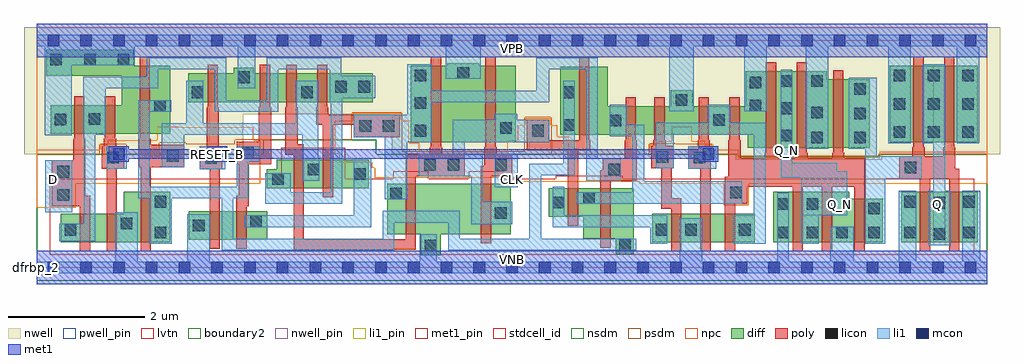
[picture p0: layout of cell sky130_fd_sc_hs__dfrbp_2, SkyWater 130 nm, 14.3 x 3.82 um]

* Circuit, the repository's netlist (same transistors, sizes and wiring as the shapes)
* Copyright 2020 The SkyWater PDK Authors
*
* Licensed under the Apache License, Version 2.0 (the "License");
* you may not use this file except in compliance with the License.
* You may obtain a copy of the License at
*
*     https://www.apache.org/licenses/LICENSE-2.0
*
* Unless required by applicable law or agreed to in writing, software
* distributed under the License is distributed on an "AS IS" BASIS,
* WITHOUT WARRANTIES OR CONDITIONS OF ANY KIND, either express or implied.
* See the License for the specific language governing permissions and
* limitations under the License.
*
* SPDX-License-Identifier: Apache-2.0


.subckt sky130_fd_sc_hs__dfrbp_2 CLK D RESET_B VGND VNB VPB VPWR Q Q_N
X0 a_1800_291# a_1586_149# VPWR VPB sky130_fd_pr__pfet_01v8 w=420000u l=150000u
X1 VGND CLK a_728_331# VNB sky130_fd_pr__nfet_01v8_lvt w=740000u l=150000u
X2 Q a_2363_352# VGND VNB sky130_fd_pr__nfet_01v8_lvt w=740000u l=150000u
X3 VPWR CLK a_728_331# VPB sky130_fd_pr__pfet_01v8 w=1.12 l=150000u
X4 a_1499_149# a_728_331# a_1586_149# VNB sky130_fd_pr__nfet_01v8_lvt w=420000u l=150000u
X5 a_536_81# a_331_392# a_614_81# VNB sky130_fd_pr__nfet_01v8_lvt w=420000u l=150000u
X6 a_156_74# RESET_B VGND VNB sky130_fd_pr__nfet_01v8_lvt w=420000u l=150000u
X7 a_298_294# a_818_418# a_614_81# VNB sky130_fd_pr__nfet_01v8_lvt w=420000u l=150000u
X8 a_70_74# a_728_331# a_298_294# VNB sky130_fd_pr__nfet_01v8_lvt w=420000u l=150000u
X9 a_331_392# a_728_331# a_1586_149# VPB sky130_fd_pr__pfet_01v8 w=1 l=150000u
X10 a_70_74# D a_156_74# VNB sky130_fd_pr__nfet_01v8_lvt w=420000u l=150000u
X11 a_818_418# a_728_331# VGND VNB sky130_fd_pr__nfet_01v8_lvt w=740000u l=150000u
X12 a_818_418# a_728_331# VPWR VPB sky130_fd_pr__pfet_01v8 w=1.12 l=150000u
X13 a_1586_149# a_818_418# a_1755_389# VPB sky130_fd_pr__pfet_01v8 w=420000u l=150000u
X14 Q_N a_1586_149# VPWR VPB sky130_fd_pr__pfet_01v8 w=1.12 l=150000u
X15 a_298_294# a_818_418# a_70_74# VPB sky130_fd_pr__pfet_01v8 w=420000u l=150000u
X16 VGND RESET_B a_536_81# VNB sky130_fd_pr__nfet_01v8_lvt w=420000u l=150000u
X17 a_1755_389# a_1800_291# VPWR VPB sky130_fd_pr__pfet_01v8 w=420000u l=150000u
X18 a_1586_149# a_818_418# a_331_392# VNB sky130_fd_pr__nfet_01v8_lvt w=740000u l=150000u
X19 Q a_2363_352# VPWR VPB sky130_fd_pr__pfet_01v8 w=1.12 l=150000u
X20 VGND a_1586_149# Q_N VNB sky130_fd_pr__nfet_01v8_lvt w=740000u l=150000u
X21 VGND a_1586_149# a_2363_352# VNB sky130_fd_pr__nfet_01v8_lvt w=640000u l=150000u
X22 VPWR a_298_294# a_331_392# VPB sky130_fd_pr__pfet_01v8 w=1 l=150000u
X23 a_298_294# RESET_B VPWR VPB sky130_fd_pr__pfet_01v8 w=420000u l=150000u
X24 a_1499_149# a_1800_291# VGND VNB sky130_fd_pr__nfet_01v8_lvt w=420000u l=150000u
X25 VPWR a_331_392# a_683_485# VPB sky130_fd_pr__pfet_01v8 w=420000u l=150000u
X26 VPWR D a_70_74# VPB sky130_fd_pr__pfet_01v8 w=420000u l=150000u
X27 VPWR RESET_B a_1800_291# VPB sky130_fd_pr__pfet_01v8 w=420000u l=150000u
X28 a_1974_74# a_1586_149# a_1800_291# VNB sky130_fd_pr__nfet_01v8_lvt w=420000u l=150000u
X29 a_70_74# RESET_B VPWR VPB sky130_fd_pr__pfet_01v8 w=420000u l=150000u
X30 Q_N a_1586_149# VGND VNB sky130_fd_pr__nfet_01v8_lvt w=740000u l=150000u
X31 VPWR a_1586_149# a_2363_352# VPB sky130_fd_pr__pfet_01v8 w=1 l=150000u
X32 VGND a_2363_352# Q VNB sky130_fd_pr__nfet_01v8_lvt w=740000u l=150000u
X33 VPWR a_1586_149# Q_N VPB sky130_fd_pr__pfet_01v8 w=1.12 l=150000u
X34 VGND RESET_B a_1974_74# VNB sky130_fd_pr__nfet_01v8_lvt w=420000u l=150000u
X35 a_683_485# a_728_331# a_298_294# VPB sky130_fd_pr__pfet_01v8 w=420000u l=150000u
X36 VGND a_298_294# a_331_392# VNB sky130_fd_pr__nfet_01v8_lvt w=740000u l=150000u
X37 VPWR a_2363_352# Q VPB sky130_fd_pr__pfet_01v8 w=1.12 l=150000u
.ends

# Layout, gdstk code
import gdstk
lib = gdstk.Library(unit=1e-6, precision=1e-09)
def R(c, l, rs):  # rectangles x0, y0, x1, y1
    for r in rs: c.add(gdstk.rectangle(r[:2], r[2:], *l))
def A(c, l, x, y, w, h, nx, ny, dx, dy):  # array of equal rectangles
    R(c, l, [(x+i*dx, y+j*dy, x+i*dx+w, y+j*dy+h) for i in range(nx) for j in range(ny)])
def P(c, l, *ps):  # polygons
    for p in ps: c.add(gdstk.Polygon(p, *l))
nwell_pin = (64, 16)
nwell = (64, 20)
diff = (65, 20)
poly = (66, 20)
licon = (66, 44)
li1_pin = (67, 16)
li1 = (67, 20)
mcon = (67, 44)
met1_pin = (68, 16)
met1 = (68, 20)
stdcell_id = (81, 4)
nsdm = (93, 44)
psdm = (94, 20)
npc = (95, 20)
pwell_pin = (122, 16)
lvtn = (125, 44)
boundary2 = (236, 0)

sky130_fd_sc_hs__dfrbp_2 = lib.new_cell('sky130_fd_sc_hs__dfrbp_2')
R(sky130_fd_sc_hs__dfrbp_2, nwell_pin, [(0,3.085,13.92,3.33)])
P(sky130_fd_sc_hs__dfrbp_2, nwell, [(10.235,1.58),(10.235,1.66),(5.2,1.66),(5.2,2.245),(3.025,2.245),(3.025,1.66),(-0.19,1.66),(-0.19,3.52),(14.11,3.52),(14.11,1.66),(12.385,1.66),(12.385,1.58)])
R(sky130_fd_sc_hs__dfrbp_2, diff, [(9.015,0.37,10.515,0.79), (12.665,0.37,13.785,1.11), (2.225,0.405,3.375,0.825), (12.495,1.84,13.785,2.96)])
P(sky130_fd_sc_hs__dfrbp_2, diff, [(0.2,1.96),(0.2,2.38),(1.24,2.38),(1.24,2.81),(0.135,2.81),(0.135,3.195),(1.415,3.195),(1.415,2.96),(1.95,2.96),(1.95,1.96)],
  [(10.785,0.37),(10.785,1.11),(11.9,1.11),(11.9,1.01),(12.395,1.01),(12.395,0.37)],
  [(0.35,0.37),(0.35,0.79),(1.27,0.79),(1.27,1.11),(1.955,1.11),(1.955,0.37)],
  [(3.365,1.16),(3.365,1.44),(3.51,1.44),(3.51,1.58),(4.86,1.58),(4.86,1.16)],
  [(2.22,2.425),(2.22,2.845),(2.885,2.845),(2.885,2.93),(3.175,2.93),(3.175,2.845),(4.92,2.845),(4.92,2.425)],
  [(5.625,0.18),(5.625,0.49),(5.13,0.49),(5.13,1.23),(6.94,1.23),(6.94,0.49),(5.915,0.49),(5.915,0.18)],
  [(5.475,1.84),(5.475,2.96),(6.01,2.96),(6.01,2.995),(6.48,2.995),(6.48,2.96),(7.015,2.96),(7.015,1.84)],
  [(8.48,0.195),(8.48,0.425),(8.005,0.425),(8.005,0.745),(7.495,0.745),(7.495,1.165),(8.745,1.165),(8.745,0.195)],
  [(10.415,1.76),(10.415,1.945),(7.665,1.945),(7.665,2.945),(8.36,2.945),(8.36,2.365),(9.285,2.365),(9.285,2.6),(9.605,2.6),(9.605,2.365),(10.385,2.365),(10.385,2.88),(11.575,2.88),(11.575,2.76),(12.205,2.76),(12.205,1.76)])
P(sky130_fd_sc_hs__dfrbp_2, poly, [(1.02,0.24),(1.02,1.45),(0.95,1.45),(0.95,1.78),(0.98,1.78),(0.98,1.885),(0.995,1.885),(0.995,2.51),(1.145,2.51),(1.145,1.885),(1.16,1.885),(1.16,1.78),(1.28,1.78),(1.28,1.45),(1.17,1.45),(1.17,0.24)],
  [(1.52,0.24),(1.52,1.47),(1.49,1.47),(1.49,1.885),(1.505,1.885),(1.505,3.09),(1.655,3.09),(1.655,1.885),(1.67,1.885),(1.67,1.8),(2.155,1.8),(2.155,1.47),(1.67,1.47),(1.67,0.24)],
  [(2.53,0.275),(2.53,1.445),(2.385,1.445),(2.385,1.775),(2.485,1.775),(2.485,2.35),(2.5,2.35),(2.5,2.975),(2.65,2.975),(2.65,2.35),(2.665,2.35),(2.665,1.775),(2.715,1.775),(2.715,1.445),(2.68,1.445),(2.68,0.275)],
  [(2.92,0.275),(2.92,1.05),(2.955,1.05),(2.955,1.515),(2.925,1.515),(2.925,1.845),(3.25,1.845),(3.25,2.35),(3.265,2.35),(3.265,2.975),(3.415,2.975),(3.415,2.35),(3.43,2.35),(3.43,1.515),(3.105,1.515),(3.105,0.9),(3.07,0.9),(3.07,0.275)],
  [(4.19,1.03),(4.19,2.09),(4.09,2.09),(4.09,2.35),(4.105,2.35),(4.105,2.975),(4.255,2.975),(4.255,2.35),(4.27,2.35),(4.27,2.24),(5.315,2.24),(5.315,1.91),(4.645,1.91),(4.645,2.09),(4.34,2.09),(4.34,1.03)],
  [(3.76,0.265),(3.76,1.655),(3.64,1.655),(3.64,2.35),(3.655,2.35),(3.655,2.975),(3.805,2.975),(3.805,2.35),(3.82,2.35),(3.82,1.805),(3.91,1.805),(3.91,0.415),(5.4,0.415),(5.4,1.67),(5.755,1.67),(5.755,1.765),(5.77,1.765),(5.77,3.09),(5.92,3.09),(5.92,1.765),(5.935,1.765),(5.935,1.67),(6.265,1.67),(6.265,1.34),(5.55,1.34),(5.55,0.265)],
  [(6.505,0.36),(6.505,1.49),(6.555,1.49),(6.555,1.765),(6.57,1.765),(6.57,3.09),(6.72,3.09),(6.72,1.765),(6.735,1.765),(6.735,1.67),(6.965,1.67),(6.965,1.34),(6.655,1.34),(6.655,0.36)],
  [(7.78,0.615),(7.78,1.72),(7.175,1.72),(7.175,2.17),(7.505,2.17),(7.505,1.87),(7.945,1.87),(7.945,3.075),(8.095,3.075),(8.095,1.87),(8.11,1.87),(8.11,1.72),(7.93,1.72),(7.93,0.615)],
  [(8.255,0.295),(8.255,1.425),(8.29,1.425),(8.29,1.605),(8.61,1.605),(8.61,1.87),(8.625,1.87),(8.625,2.495),(8.775,2.495),(8.775,1.87),(8.79,1.87),(8.79,1.275),(8.405,1.275),(8.405,0.295)],
  [(9.29,0.24),(9.29,0.865),(9.15,0.865),(9.15,1.455),(9,1.455),(9,1.785),(9.03,1.785),(9.03,1.87),(9.045,1.87),(9.045,2.495),(9.195,2.495),(9.195,1.87),(9.21,1.87),(9.21,1.785),(9.33,1.785),(9.33,1.455),(9.3,1.455),(9.3,1.015),(9.44,1.015),(9.44,0.24)],
  [(9.72,0.24),(9.72,1.45),(9.54,1.45),(9.54,1.78),(9.68,1.78),(9.68,1.87),(9.695,1.87),(9.695,2.495),(9.845,2.495),(9.845,1.87),(9.86,1.87),(9.86,1.78),(9.87,1.78),(9.87,0.24)],
  [(10.08,0.24),(10.08,1.335),(10.13,1.335),(10.13,1.87),(10.145,1.87),(10.145,2.495),(10.295,2.495),(10.295,1.87),(10.31,1.87),(10.31,1.6),(10.665,1.6),(10.665,1.685),(10.68,1.685),(10.68,3.01),(10.83,3.01),(10.83,1.685),(10.845,1.685),(10.845,1.6),(11.115,1.6),(11.115,1.685),(11.13,1.685),(11.13,3.01),(11.28,3.01),(11.28,1.685),(11.295,1.685),(11.295,1.6),(11.65,1.6),(11.65,1.685),(11.665,1.685),(11.665,2.89),(11.815,2.89),(11.815,1.685),(11.83,1.685),(11.83,1.6),(12.125,1.6),(12.125,0.24),(11.975,0.24),(11.975,1.185),(11.65,1.185),(11.65,0.24),(11.5,0.24),(11.5,1.185),(11.22,1.185),(11.22,0.24),(11.07,0.24),(11.07,1.185),(10.41,1.185),(10.41,0.935),(10.23,0.935),(10.23,0.24)],
  [(12.935,0.24),(12.935,1.3),(12.635,1.3),(12.635,1.63),(12.825,1.63),(12.825,1.765),(12.84,1.765),(12.84,3.09),(12.99,3.09),(12.99,1.765),(13.005,1.765),(13.005,1.63),(13.275,1.63),(13.275,1.765),(13.29,1.765),(13.29,3.09),(13.44,3.09),(13.44,1.765),(13.455,1.765),(13.455,1.45),(13.515,1.45),(13.515,0.24),(13.365,0.24),(13.365,1.3),(13.085,1.3),(13.085,0.24)],
  [(0.63,0.24),(0.63,0.9),(0.22,0.9),(0.22,1.57),(0.53,1.57),(0.53,1.885),(0.545,1.885),(0.545,2.51),(0.695,2.51),(0.695,1.885),(0.71,1.885),(0.71,1.05),(0.78,1.05),(0.78,0.24)])
A(sky130_fd_sc_hs__dfrbp_2, licon, 11.975, 1.82, 0.17, 0.17, 1, 3, 0, 0.355)
A(sky130_fd_sc_hs__dfrbp_2, licon, 10.895, 1.85, 0.17, 0.17, 1, 3, 0, 0.4)
A(sky130_fd_sc_hs__dfrbp_2, licon, 12.555, 1.9, 0.17, 0.17, 3, 3, 0.5, 0.415)
A(sky130_fd_sc_hs__dfrbp_2, licon, 5.535, 1.92, 0.17, 0.17, 1, 3, 0, 0.405)
A(sky130_fd_sc_hs__dfrbp_2, licon, 0.195, 2.965, 0.17, 0.17, 3, 1, 0.495, 0)
R(sky130_fd_sc_hs__dfrbp_2, licon, [(5.685,0.24,5.855,0.41), (8.53,0.255,8.7,0.425), (13.14,0.41,13.31,0.58), (1.725,0.43,1.895,0.6), (10.845,0.43,11.015,0.6), (11.275,0.43,11.445,0.6), (11.71,0.43,11.88,0.6), (12.18,0.43,12.35,0.6), (12.71,0.43,12.88,0.6), (13.57,0.43,13.74,0.6), (0.405,0.47,0.575,0.64), (9.065,0.47,9.235,0.64), (9.495,0.47,9.665,0.64), (10.285,0.47,10.455,0.64), (2.285,0.53,2.455,0.7), (1.225,0.56,1.395,0.73), (3.125,0.595,3.295,0.765), (6.71,0.715,6.88,0.885), (12.18,0.78,12.35,0.95), (10.845,0.85,11.015,1.02), (11.275,0.85,11.445,1.02), (13.14,0.865,13.31,1.035), (7.555,0.87,7.725,1.04), (1.725,0.88,1.895,1.05), (12.71,0.88,12.88,1.05), (13.57,0.88,13.74,1.05), (8.005,0.935,8.175,1.105), (0.3,0.98,0.47,1.15), (5.175,1,5.345,1.17), (10.16,1.015,10.33,1.185), (3.445,1.215,3.615,1.385), (4.645,1.285,4.815,1.455), (0.3,1.32,0.47,1.49), (3.965,1.355,4.135,1.525), (8.37,1.355,8.54,1.525), (12.715,1.38,12.885,1.55), (5.675,1.42,5.845,1.59), (6.015,1.42,6.185,1.59), (6.715,1.42,6.885,1.59), (2.465,1.525,2.635,1.695), (1.03,1.53,1.2,1.7), (9.62,1.53,9.79,1.7), (9.08,1.535,9.25,1.705), (1.905,1.55,2.075,1.72), (3.005,1.595,3.175,1.765), (11.345,1.82,11.515,1.99), (7.255,1.92,7.425,2.09), (6.785,1.96,6.955,2.13), (4.725,1.99,4.895,2.16), (5.065,1.99,5.235,2.16), (7.71,2.005,7.88,2.175), (8.39,2.07,8.56,2.24), (9.91,2.08,10.08,2.25), (0.26,2.085,0.43,2.255), (0.76,2.09,0.93,2.26), (11.345,2.19,11.515,2.36), (1.72,2.285,1.89,2.455), (10.445,2.29,10.615,2.46), (9.36,2.37,9.53,2.54), (2.265,2.485,2.435,2.655), (3.87,2.485,4.04,2.655), (7.71,2.485,7.88,2.655), (4.37,2.565,4.54,2.735), (4.71,2.565,4.88,2.735), (10.445,2.63,10.615,2.8), (11.345,2.65,11.515,2.82), (2.945,2.705,3.115,2.875), (6.16,2.765,6.33,2.935)])
R(sky130_fd_sc_hs__dfrbp_2, li1_pin, [(13.135,0.33,13.305,2.98), (11.195,0.77,11.875,1.32), (0.125,0.81,0.515,1.57), (6.705,1.18,7.045,1.67), (10.895,1.32,11.065,2.9)])
R(sky130_fd_sc_hs__dfrbp_2, li1, [(0.125,0.81,0.515,1.57), (6.705,1.18,7.045,1.67), (2.385,1.445,2.755,1.775), (1.025,1.45,1.315,1.78), (9.54,1.45,9.955,1.78)])
P(sky130_fd_sc_hs__dfrbp_2, li1, [(2.705,0.255),(2.705,1.015),(1.975,1.015),(1.975,0.35),(1.645,0.35),(1.645,1.015),(1.485,1.015),(1.485,2.455),(1.97,2.455),(1.97,2.285),(1.655,2.285),(1.655,1.185),(2.925,1.185),(2.925,1.775),(3.255,1.775),(3.255,1.555),(3.095,1.555),(3.095,1.015),(2.875,1.015),(2.875,0.425),(5.065,0.425),(5.065,0.83),(6.195,0.83),(6.195,0.425),(7.215,0.425),(7.215,1.525),(7.71,1.525),(7.71,2.735),(7.88,2.735),(7.88,1.355),(7.385,1.355),(7.385,0.425),(8.78,0.425),(8.78,0.255),(6.025,0.255),(6.025,0.66),(5.235,0.66),(5.235,0.255)],
  [(7.905,0.935),(7.905,1.105),(8.725,1.105),(8.725,1.925),(8.39,1.925),(8.39,2.385),(8.64,2.385),(8.64,2.095),(8.895,2.095),(8.895,1.265),(10.335,1.265),(10.335,0.935)],
  [(5.095,1),(5.095,1.91),(4.645,1.91),(4.645,2.24),(5.425,2.24),(5.425,2.98),(5.785,2.98),(5.785,2.595),(7.315,2.595),(7.315,3.075),(8.22,3.075),(8.22,1.605),(8.555,1.605),(8.555,1.275),(8.05,1.275),(8.05,2.905),(7.505,2.905),(7.505,2.425),(5.785,2.425),(5.785,1.84),(5.425,1.84),(5.425,1)],
  [(13.06,0.33),(13.06,1.13),(13.135,1.13),(13.135,1.82),(12.975,1.82),(12.975,2.98),(13.305,2.98),(13.305,1.13),(13.39,1.13),(13.39,0.33)],
  [(3.885,1.275),(3.885,1.945),(2.155,1.945),(2.155,1.47),(1.825,1.47),(1.825,2.115),(2.185,2.115),(2.185,2.735),(2.435,2.735),(2.435,2.115),(3.79,2.115),(3.79,2.735),(4.12,2.735),(4.12,1.61),(4.135,1.61),(4.135,1.275)],
  [(3.045,0.595),(3.045,0.765),(4.645,0.765),(4.645,1.6),(4.895,1.6),(4.895,0.595)],
  [(12.135,0.35),(12.135,1.74),(11.895,1.74),(11.895,2.78),(12.305,2.78),(12.305,1.63),(12.965,1.63),(12.965,1.3),(12.43,1.3),(12.43,0.35)],
  [(8.985,0.35),(8.985,0.595),(7.555,0.595),(7.555,1.185),(7.725,1.185),(7.725,0.765),(9.235,0.765),(9.235,0.35)],
  [(11.195,0.35),(11.195,1.32),(10.895,1.32),(10.895,2.9),(11.065,2.9),(11.065,1.54),(11.725,1.54),(11.725,1.41),(11.875,1.41),(11.875,0.77),(11.455,0.77),(11.455,0.35)],
  [(0.325,0.39),(0.325,0.64),(0.685,0.64),(0.685,1.95),(0.68,1.95),(0.68,2.795),(1.605,2.795),(1.605,3.075),(2.775,3.075),(2.775,2.455),(3.365,2.455),(3.365,3.075),(4.46,3.075),(4.46,2.815),(4.96,2.815),(4.96,2.485),(4.475,2.485),(4.475,0.935),(3.345,0.935),(3.345,1.385),(3.715,1.385),(3.715,1.105),(4.305,1.105),(4.305,2.41),(4.29,2.41),(4.29,2.905),(3.535,2.905),(3.535,2.285),(2.605,2.285),(2.605,2.905),(1.775,2.905),(1.775,2.625),(1.01,2.625),(1.01,1.95),(0.855,1.95),(0.855,0.39)],
  [(10.205,0.35),(10.205,0.765),(10.505,0.765),(10.505,1.95),(9.33,1.95),(9.33,1.455),(9.065,1.455),(9.065,2.12),(9.83,2.12),(9.83,2.385),(10.16,2.385),(10.16,2.12),(10.675,2.12),(10.675,0.35)],
  [(6.365,0.635),(6.365,1.34),(5.595,1.34),(5.595,1.67),(6.095,1.67),(6.095,2.17),(6.705,2.17),(6.705,2.255),(7.035,2.255),(7.035,2.17),(7.505,2.17),(7.505,1.84),(6.265,1.84),(6.265,1.67),(6.535,1.67),(6.535,0.965),(6.96,0.965),(6.96,0.635)],
  [(0,-0.085),(0,0.085),(1.145,0.085),(1.145,0.81),(1.475,0.81),(1.475,0.085),(2.205,0.085),(2.205,0.78),(2.535,0.78),(2.535,0.085),(5.605,0.085),(5.605,0.49),(5.855,0.49),(5.855,0.085),(9.415,0.085),(9.415,0.72),(9.745,0.72),(9.745,0.085),(10.845,0.085),(10.845,1.1),(11.015,1.1),(11.015,0.085),(11.625,0.085),(11.625,0.6),(11.965,0.6),(11.965,0.085),(12.63,0.085),(12.63,1.13),(12.88,1.13),(12.88,0.085),(13.56,0.085),(13.56,1.13),(13.82,1.13),(13.82,0.085),(13.92,0.085),(13.92,-0.085)],
  [(11.265,1.74),(11.265,3.245),(10.695,3.245),(10.695,2.29),(10.365,2.29),(10.365,3.245),(9.625,3.245),(9.625,2.29),(9.265,2.29),(9.265,3.245),(6.5,3.245),(6.5,2.765),(5.99,2.765),(5.99,3.245),(3.195,3.245),(3.195,2.625),(2.945,2.625),(2.945,3.245),(1.435,3.245),(1.435,2.965),(0.51,2.965),(0.51,1.94),(0.115,1.94),(0.115,3.245),(0,3.245),(0,3.415),(13.92,3.415),(13.92,3.245),(13.805,3.245),(13.805,1.82),(13.475,1.82),(13.475,3.245),(12.805,3.245),(12.805,1.82),(12.475,1.82),(12.475,3.245),(11.595,3.245),(11.595,1.74)])
A(sky130_fd_sc_hs__dfrbp_2, mcon, 0.155, -0.085, 0.17, 0.17, 29, 2, 0.48, 3.33)
R(sky130_fd_sc_hs__dfrbp_2, mcon, [(1.115,1.58,1.285,1.75), (2.555,1.58,2.725,1.75), (9.755,1.58,9.925,1.75)])
R(sky130_fd_sc_hs__dfrbp_2, met1_pin, [(0,-0.245,13.92,0.245), (2.495,1.55,2.785,1.78), (0,3.085,13.92,3.575)])
R(sky130_fd_sc_hs__dfrbp_2, met1, [(0,-0.245,13.92,0.245), (0,3.085,13.92,3.575)])
P(sky130_fd_sc_hs__dfrbp_2, met1, [(1.055,1.55),(1.055,1.78),(1.345,1.78),(1.345,1.735),(2.495,1.735),(2.495,1.78),(2.785,1.78),(2.785,1.735),(9.695,1.735),(9.695,1.78),(9.985,1.78),(9.985,1.55),(9.695,1.55),(9.695,1.595),(2.785,1.595),(2.785,1.55),(2.495,1.55),(2.495,1.595),(1.345,1.595),(1.345,1.55)])
R(sky130_fd_sc_hs__dfrbp_2, stdcell_id, [(0,0,13.92,3.33)])
P(sky130_fd_sc_hs__dfrbp_2, nsdm, [(0,-0.19),(0,1.66),(3.315,1.66),(3.315,1.875),(4.97,1.875),(4.97,1.66),(10.285,1.66),(10.285,1.63),(12.335,1.63),(12.335,1.66),(13.92,1.66),(13.92,-0.19)])
P(sky130_fd_sc_hs__dfrbp_2, psdm, [(10.285,1.63),(10.285,1.66),(9.9,1.66),(9.9,1.81),(9.36,1.81),(9.36,1.815),(8.97,1.815),(8.97,1.66),(7.535,1.66),(7.535,2.2),(7.145,2.2),(7.145,1.7),(5.345,1.7),(5.345,2.27),(4.615,2.27),(4.615,1.875),(2.895,1.875),(2.895,1.805),(2.185,1.805),(2.185,1.83),(1.795,1.83),(1.795,1.66),(1.31,1.66),(1.31,1.81),(0.92,1.81),(0.92,1.66),(0,1.66),(0,3.52),(13.92,3.52),(13.92,1.66),(12.335,1.66),(12.335,1.63)])
P(sky130_fd_sc_hs__dfrbp_2, npc, [(10.06,0.915),(10.06,1.23),(8.835,1.23),(8.835,1.255),(7.03,1.255),(7.03,1.32),(4.95,1.32),(4.95,1.465),(4.905,1.465),(4.905,1.545),(4.43,1.545),(4.43,1.67),(4.36,1.67),(4.36,2.155),(4.625,2.155),(4.625,2.26),(5.335,2.26),(5.335,2.155),(5.445,2.155),(5.445,1.83),(5.6,1.83),(5.6,1.7),(6.89,1.7),(6.89,1.87),(7.045,1.87),(7.045,2.085),(7.155,2.085),(7.155,2.19),(7.525,2.19),(7.525,2.085),(7.62,2.085),(7.62,1.915),(7.79,1.915),(7.79,1.73),(8.98,1.73),(8.98,1.805),(9.085,1.805),(9.085,1.855),(9.3,1.855),(9.3,2.065),(9.59,2.065),(9.59,1.855),(9.785,1.855),(9.785,1.8),(9.89,1.8),(9.89,1.73),(10.275,1.73),(10.275,1.62),(12.345,1.62),(12.345,1.7),(13.92,1.7),(13.92,1.23),(10.43,1.23),(10.43,0.915)],
  [(0,0.88),(0,1.73),(0.93,1.73),(0.93,1.8),(1.035,1.8),(1.035,1.87),(1.76,1.87),(1.76,2.065),(2.07,2.065),(2.07,2.06),(3.17,2.06),(3.17,1.865),(3.275,1.865),(3.275,1.23),(0.57,1.23),(0.57,0.88)])
R(sky130_fd_sc_hs__dfrbp_2, pwell_pin, [(0,0,13.92,0.245)])
P(sky130_fd_sc_hs__dfrbp_2, lvtn, [(0.19,0.19),(0.19,1.3),(3.58,1.3),(3.58,1.76),(4.52,1.76),(4.52,1.3),(5.22,1.3),(5.22,1.41),(5.73,1.41),(5.73,1.3),(6.325,1.3),(6.325,1.41),(6.835,1.41),(6.835,1.3),(7.6,1.3),(7.6,1.345),(8.585,1.345),(8.585,1.3),(13.73,1.3),(13.73,0.19)])
R(sky130_fd_sc_hs__dfrbp_2, boundary2, [(0,0,13.92,3.33)])
sky130_fd_sc_hs__dfrbp_2.add(gdstk.Label('dfrbp_2', (0,0), layer=83, texttype=44))
sky130_fd_sc_hs__dfrbp_2.add(gdstk.Label('VNB', (6.96,0.123), layer=64, texttype=59))
sky130_fd_sc_hs__dfrbp_2.add(gdstk.Label('VPB', (6.96,3.208), layer=64, texttype=5))
sky130_fd_sc_hs__dfrbp_2.add(gdstk.Label('RESET_B', (2.64,1.665), layer=68, texttype=5))
sky130_fd_sc_hs__dfrbp_2.add(gdstk.Label('VPWR', (6.96,3.208), layer=68, texttype=5))
sky130_fd_sc_hs__dfrbp_2.add(gdstk.Label('VGND', (6.96,0.123), layer=68, texttype=5))
sky130_fd_sc_hs__dfrbp_2.add(gdstk.Label('Q_N', (10.988,1.71), layer=67, texttype=5))
sky130_fd_sc_hs__dfrbp_2.add(gdstk.Label('Q', (13.2,0.925), layer=67, texttype=5))
sky130_fd_sc_hs__dfrbp_2.add(gdstk.Label('Q_N', (11.76,0.925), layer=67, texttype=5))
sky130_fd_sc_hs__dfrbp_2.add(gdstk.Label('D', (0.24,1.295), layer=67, texttype=5))
sky130_fd_sc_hs__dfrbp_2.add(gdstk.Label('CLK', (6.96,1.295), layer=67, texttype=5))

lib.write_gds('sky130_fd_sc_hs__dfrbp_2.gds')
